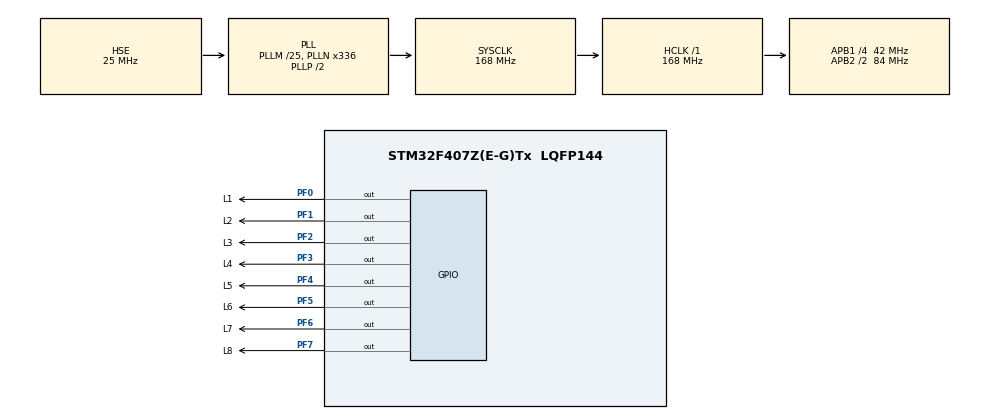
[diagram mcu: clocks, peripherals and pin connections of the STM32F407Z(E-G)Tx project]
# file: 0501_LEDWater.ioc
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Mcu.Family=STM32F4
Mcu.Name=STM32F407Z(E-G)Tx
Mcu.Package=LQFP144
NVIC.PriorityGroup=NVIC_PRIORITYGROUP_4
PA13.Mode=Serial_Wire
PA13.Signal=SYS_JTMS-SWDIO
PA14.Mode=Serial_Wire
PA14.Signal=SYS_JTCK-SWCLK
PC14-OSC32_IN.Mode=LSE-External-Oscillator
PC14-OSC32_IN.Signal=RCC_OSC32_IN
PC15-OSC32_OUT.Mode=LSE-External-Oscillator
PC15-OSC32_OUT.Signal=RCC_OSC32_OUT
PF0.GPIO_Label=L1
PF0.Signal=GPIO_Output
PF1.GPIO_Label=L2
PF1.Signal=GPIO_Output
PF2.GPIO_Label=L3
PF2.Signal=GPIO_Output
PF3.GPIO_Label=L4
PF3.Signal=GPIO_Output
PF4.GPIO_Label=L5
PF4.Signal=GPIO_Output
PF5.GPIO_Label=L6
PF5.Signal=GPIO_Output
PF6.GPIO_Label=L7
PF6.Signal=GPIO_Output
PF7.GPIO_Label=L8
PF7.Signal=GPIO_Output
PH0-OSC_IN.Mode=HSE-External-Oscillator
PH0-OSC_IN.Signal=RCC_OSC_IN
PH1-OSC_OUT.Mode=HSE-External-Oscillator
PH1-OSC_OUT.Signal=RCC_OSC_OUT
ProjectManager.HeapSize=0x200
ProjectManager.StackSize=0x400
ProjectManager.TargetToolchain=MDK-ARM V5.32
RCC.48MHZClocksFreq_Value=84000000
RCC.AHBFreq_Value=168000000
RCC.APB1CLKDivider=RCC_HCLK_DIV4
RCC.APB1Freq_Value=42000000
RCC.APB1TimFreq_Value=84000000
RCC.APB2CLKDivider=RCC_HCLK_DIV2
RCC.APB2Freq_Value=84000000
RCC.APB2TimFreq_Value=168000000
RCC.CortexFreq_Value=168000000
RCC.HCLKFreq_Value=168000000
RCC.HSE_VALUE=25000000
RCC.HSI_VALUE=16000000
RCC.PLLM=25
RCC.PLLN=336
RCC.PLLSourceVirtual=RCC_PLLSOURCE_HSE
RCC.SYSCLKFreq_VALUE=168000000
RCC.SYSCLKSource=RCC_SYSCLKSOURCE_PLLCLK
RCC.VCOOutputFreq_Value=336000000
board=custom

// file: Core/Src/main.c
/* USER CODE BEGIN Header */
/**
  ******************************************************************************
  * @file           : main.c
  * @brief          : Main program body
  ******************************************************************************
  * @attention
  *
  * Copyright (c) 2026 STMicroelectronics.
  * All rights reserved.
  *
  * This software is licensed under terms that can be found in the LICENSE file
  * in the root directory of this software component.
  * If no LICENSE file comes with this software, it is provided AS-IS.
  *
  ******************************************************************************
  */
/* USER CODE END Header */
#include "main.h"
#include "gpio.h"

void SystemClock_Config(void);

int main(void)
{

  /* MCU Configuration--------------------------------------------------------*/

  /* Reset of all peripherals, Initializes the Flash interface and the Systick. */
  HAL_Init();

  /* Configure the system clock */
  SystemClock_Config();

  /* Initialize all configured peripherals */
  MX_GPIO_Init();

  /* Infinite loop */
  /* USER CODE BEGIN WHILE */
  while (1)
  {  /* USER CODE BEGIN WHILE */

    GPIOF->ODR = 0xFE;
    HAL_Delay(100);
    GPIOF->ODR = 0xFD;
    HAL_Delay(100);
    GPIOF->ODR = 0xFB;
    HAL_Delay(100);
    GPIOF->ODR = 0xF7;
    HAL_Delay(100);
    GPIOF->ODR = 0xEF;
    HAL_Delay(100);
    GPIOF->ODR = 0xDF;
    HAL_Delay(100);
    GPIOF->ODR = 0xBF;
    HAL_Delay(100);
    GPIOF->ODR = 0x7F;
    HAL_Delay(100);

    /* USER CODE END WHILE */

}
}
void SystemClock_Config(void)
{
  RCC_OscInitTypeDef RCC_OscInitStruct = {0};
  RCC_ClkInitTypeDef RCC_ClkInitStruct = {0};

  /** Configure the main internal regulator output voltage
  */
  __HAL_RCC_PWR_CLK_ENABLE();
  __HAL_PWR_VOLTAGESCALING_CONFIG(PWR_REGULATOR_VOLTAGE_SCALE1);

  /** Initializes the RCC Oscillators according to the specified parameters
  * in the RCC_OscInitTypeDef structure.
  */
  RCC_OscInitStruct.OscillatorType = RCC_OSCILLATORTYPE_HSE;
  RCC_OscInitStruct.HSEState = RCC_HSE_ON;
  RCC_OscInitStruct.PLL.PLLState = RCC_PLL_ON;
  RCC_OscInitStruct.PLL.PLLSource = RCC_PLLSOURCE_HSE;
  RCC_OscInitStruct.PLL.PLLM = 25;
  RCC_OscInitStruct.PLL.PLLN = 336;
  RCC_OscInitStruct.PLL.PLLP = RCC_PLLP_DIV2;
  RCC_OscInitStruct.PLL.PLLQ = 4;
  if (HAL_RCC_OscConfig(&RCC_OscInitStruct) != HAL_OK)
  {
    Error_Handler();
  }

  /** Initializes the CPU, AHB and APB buses clocks
  */
  RCC_ClkInitStruct.ClockType = RCC_CLOCKTYPE_HCLK|RCC_CLOCKTYPE_SYSCLK
                              |RCC_CLOCKTYPE_PCLK1|RCC_CLOCKTYPE_PCLK2;
  RCC_ClkInitStruct.SYSCLKSource = RCC_SYSCLKSOURCE_PLLCLK;
  RCC_ClkInitStruct.AHBCLKDivider = RCC_SYSCLK_DIV1;
  RCC_ClkInitStruct.APB1CLKDivider = RCC_HCLK_DIV4;
  RCC_ClkInitStruct.APB2CLKDivider = RCC_HCLK_DIV2;

  if (HAL_RCC_ClockConfig(&RCC_ClkInitStruct, FLASH_LATENCY_5) != HAL_OK)
  {
    Error_Handler();
  }
}

void Error_Handler(void)
{
  __disable_irq();
  while (1)
  {
  }
}
